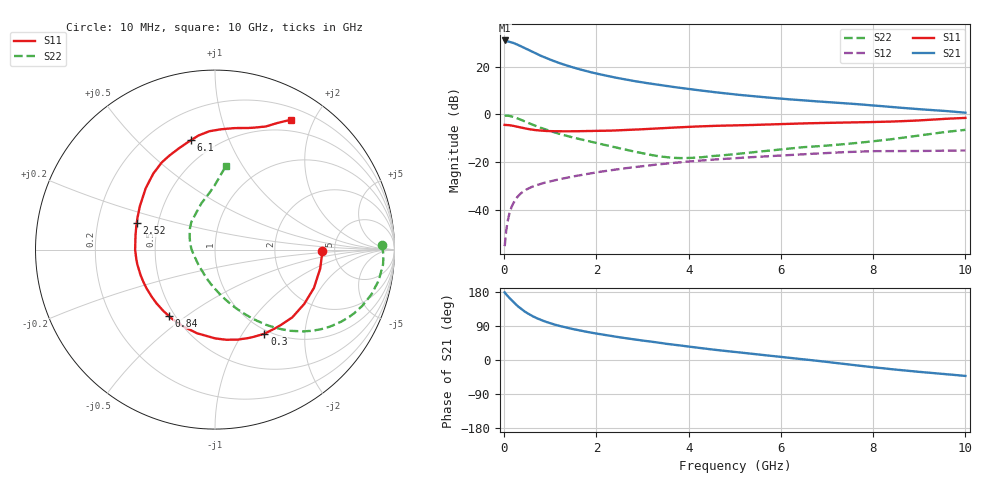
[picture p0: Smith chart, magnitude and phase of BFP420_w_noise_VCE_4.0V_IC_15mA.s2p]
! Infineon Technologies  Discrete & RF Semiconductors
! BFP420
! VCE =  4.0 V,  IC =  15 mA
! Common Emitter S-Parameters:  Jan 2016
# GHz  S  MA  R  50
!  f  S11  S21  S12  S22
! GHz  MAG  ANG  MAG  ANG  MAG  ANG  MAG  ANG
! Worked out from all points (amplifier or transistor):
!   233 points, 10 MHz to 10 GHz, reference 50 ohm
!   highest |S21| = 31.0 dB at 10 MHz (marker M1)
!   |S21| within 3 dB of that: start of sweep to 424.9 MHz
!   unconditionally stable (mu >= 1): start of sweep to 17.93 MHz; 2.06 GHz to end of sweep
!   at 200 MHz: K = 0.28, MSG = 33.6 dB, |S12| = -37.3 dB
!   at 1.74 GHz: K = 0.93, MSG = 21.8 dB, |S12| = -25.3 dB
!   at 10 GHz: K = 1.08, MAG = 6.2 dB, |S12| = -15.2 dB
!   lowest NFmin = 1.06 dB at 900 MHz
!   S11 on the Smith chart (normalised r, x): 10 MHz: 3.98, -0.13; 300 MHz: 0.95, -1.26; 840 MHz: 0.46, -0.43; 2.52 GHz: 0.38, +0.14; 6.1 GHz: 0.37, +0.74; 10 GHz: 0.35, +1.69
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0.01  0.599 -1.0  35.35 178.5  0.0017 38.3  0.929 1.6
0.02  0.5959 -4.1  34.29 176.6  0.002 48.6  0.9392 -1.7
0.1  0.5912 -21.2  33.43 165.6  0.0073 71.1  0.9281 -10.7
0.15  0.5821 -31.4  32.47 159.0  0.0106 70.6  0.9066 -16.0
0.24  0.558 -48.7  30.15 148.1  0.0158 66.7  0.8524 -24.6
0.3  0.5435 -59.6  28.57 141.5  0.019 63.7  0.8111 -29.6
0.38  0.5212 -72.5  26.27 133.7  0.0225 60.4  0.7537 -35.4
0.45  0.506 -83.0  24.36 127.6  0.0251 58.0  0.7054 -39.9
0.6  0.4768 -102.0  20.66 116.6  0.0298 54.2  0.6123 -47.6
0.7  0.4635 -112.7  18.59 110.7  0.0323 52.6  0.5604 -51.6
0.84  0.4498 -125.1  16.17 103.9  0.0356 51.1  0.5 -56.2
1  0.4425 -137.5  13.96 97.0  0.039 50.0  0.4427 -61.0
1.2  0.4386 -149.8  11.84 89.9  0.0432 49.3  0.3866 -66.1
1.68  0.4413 -171.8  8.543 76.9  0.0533 47.9  0.2931 -76.9
2  0.4453 176.9  7.141 69.8  0.0602 46.6  0.2488 -83.8
2.52  0.4608 161.3  5.61 59.7  0.0712 43.8  0.191 -97.5
3.4  0.5078 140.6  4.065 44.9  0.0896 37.7  0.1294 -130.8
5.1  0.5856 114.4  2.548 19.9  0.1213 23.8  0.1485 160.2
6.1  0.624 102.4  2.087 7.1  0.1377 15.7  0.1873 137.4
6.8  0.6523 94.9  1.857 -2.3  0.1499 9.4  0.2127 124.7
8.4  0.7013 75.0  1.418 -24.3  0.1684 -7.7  0.2989 98.9
10  0.8375 59.7  1.076 -42.1  0.1732 -19.6  0.4701 82.4
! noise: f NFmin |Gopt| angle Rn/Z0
0.9  1.06  0.09  -152  0.13
1.8  1.36  0.18  -147  0.12
2.4  1.49  0.17  -148  0.14
3  1.53  0.25  -138  0.14
4  1.67  0.38  -119  0.2
5  2.14  0.44  -103  0.32
6  2.48  0.5  -88  0.47
